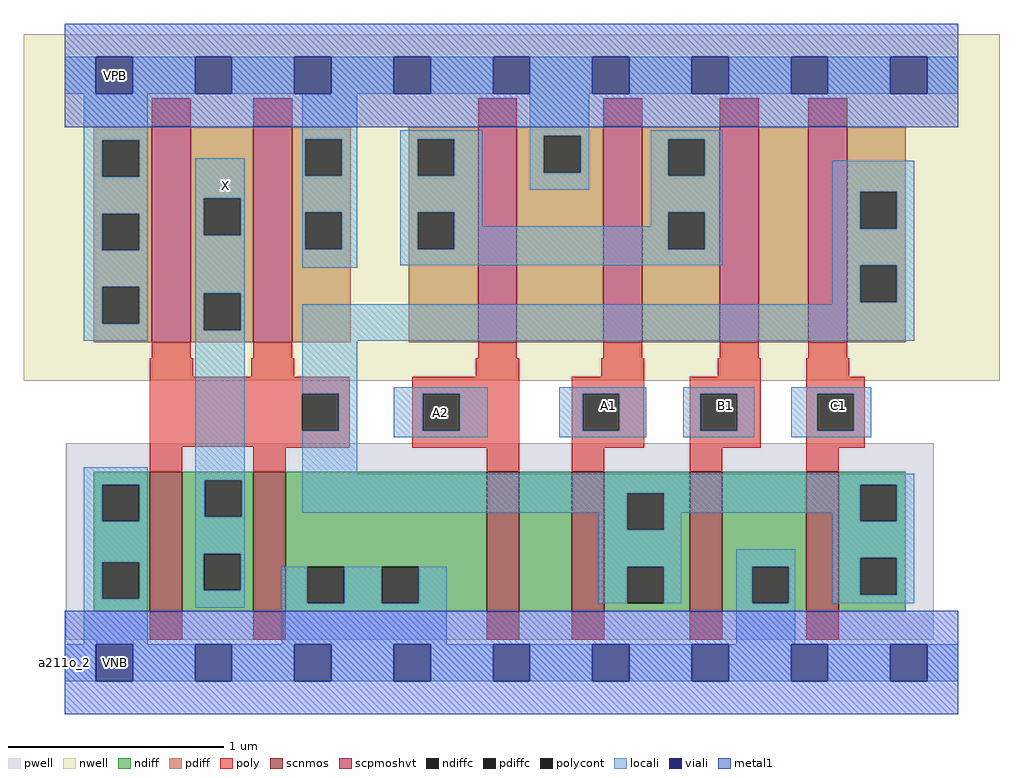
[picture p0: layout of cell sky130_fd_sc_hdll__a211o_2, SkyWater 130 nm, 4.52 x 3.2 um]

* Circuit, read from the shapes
.subckt sky130_fd_sc_hdll__a211o_2 A1 A2 B1 C1 VGND VNB VPB VPWR X
XM1 X n1 VGND VNB sky130_fd_pr__nfet_01v8 w=0.65 l=0.15 m=2
XM2 n2 A2 VGND VNB sky130_fd_pr__nfet_01v8 w=0.65 l=0.15
XM3 n1 A1 n2 VNB sky130_fd_pr__nfet_01v8 w=0.65 l=0.15
XM4 VGND B1 n1 VNB sky130_fd_pr__nfet_01v8 w=0.65 l=0.15
XM5 n1 C1 VGND VNB sky130_fd_pr__nfet_01v8 w=0.65 l=0.15
XM6 X n1 VPWR VPB sky130_fd_pr__pfet_01v8_hvt w=1 l=0.18 m=2
XM7 VPWR A2 n3 VPB sky130_fd_pr__pfet_01v8_hvt w=1 l=0.18
XM8 n3 A1 VPWR VPB sky130_fd_pr__pfet_01v8_hvt w=1 l=0.18
XM9 n4 B1 n3 VPB sky130_fd_pr__pfet_01v8_hvt w=1 l=0.18
XM10 n1 C1 n4 VPB sky130_fd_pr__pfet_01v8_hvt w=1 l=0.18
.ends

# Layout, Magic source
magic
tech sky130A
magscale 1 2
<< nwell >>
rect -38 261 866 582
<< pwell >>
rect 1 21 805 203
rect 30 -17 64 21
<< scnmos >>
rect 79 47 109 177
rect 175 47 205 177
rect 391 47 421 177
rect 470 47 500 177
rect 579 47 609 177
rect 687 47 717 177
<< scpmoshvt >>
rect 81 297 117 497
rect 175 297 211 497
rect 383 297 419 497
rect 499 297 535 497
rect 607 297 643 497
rect 689 297 725 497
<< ndiff >>
rect 27 165 79 177
rect 27 131 35 165
rect 69 131 79 165
rect 27 93 79 131
rect 27 59 35 93
rect 69 59 79 93
rect 27 47 79 59
rect 109 169 175 177
rect 109 135 130 169
rect 164 135 175 169
rect 109 101 175 135
rect 109 67 129 101
rect 163 67 175 101
rect 109 47 175 67
rect 205 89 391 177
rect 205 55 225 89
rect 259 55 294 89
rect 328 55 391 89
rect 205 47 391 55
rect 421 47 470 177
rect 500 157 579 177
rect 500 123 521 157
rect 555 123 579 157
rect 500 89 579 123
rect 500 55 521 89
rect 555 55 579 89
rect 500 47 579 55
rect 609 89 687 177
rect 609 55 637 89
rect 671 55 687 89
rect 609 47 687 55
rect 717 165 779 177
rect 717 131 737 165
rect 771 131 779 165
rect 717 97 779 131
rect 717 63 737 97
rect 771 63 779 97
rect 717 47 779 63
<< pdiff >>
rect 27 484 81 497
rect 27 450 35 484
rect 69 450 81 484
rect 27 416 81 450
rect 27 382 35 416
rect 69 382 81 416
rect 27 348 81 382
rect 27 314 35 348
rect 69 314 81 348
rect 27 297 81 314
rect 117 430 175 497
rect 117 396 129 430
rect 163 396 175 430
rect 117 342 175 396
rect 117 308 129 342
rect 163 308 175 342
rect 117 297 175 308
rect 211 485 265 497
rect 211 451 223 485
rect 257 451 265 485
rect 211 417 265 451
rect 211 383 223 417
rect 257 383 265 417
rect 211 297 265 383
rect 319 485 383 497
rect 319 451 327 485
rect 361 451 383 485
rect 319 417 383 451
rect 319 383 327 417
rect 361 383 383 417
rect 319 297 383 383
rect 419 488 499 497
rect 419 454 444 488
rect 478 454 499 488
rect 419 297 499 454
rect 535 485 607 497
rect 535 451 559 485
rect 593 451 607 485
rect 535 417 607 451
rect 535 383 559 417
rect 593 383 607 417
rect 535 297 607 383
rect 643 297 689 497
rect 725 436 779 497
rect 725 402 737 436
rect 771 402 779 436
rect 725 368 779 402
rect 725 334 737 368
rect 771 334 779 368
rect 725 297 779 334
<< ndiffc >>
rect 35 131 69 165
rect 35 59 69 93
rect 130 135 164 169
rect 129 67 163 101
rect 225 55 259 89
rect 294 55 328 89
rect 521 123 555 157
rect 521 55 555 89
rect 637 55 671 89
rect 737 131 771 165
rect 737 63 771 97
<< pdiffc >>
rect 35 450 69 484
rect 35 382 69 416
rect 35 314 69 348
rect 129 396 163 430
rect 129 308 163 342
rect 223 451 257 485
rect 223 383 257 417
rect 327 451 361 485
rect 327 383 361 417
rect 444 454 478 488
rect 559 451 593 485
rect 559 383 593 417
rect 737 402 771 436
rect 737 334 771 368
<< poly >>
rect 81 497 117 523
rect 175 497 211 523
rect 383 497 419 523
rect 499 497 535 523
rect 607 497 643 523
rect 689 497 725 523
rect 81 282 117 297
rect 175 282 211 297
rect 383 282 419 297
rect 499 282 535 297
rect 607 282 643 297
rect 689 282 725 297
rect 79 265 119 282
rect 173 265 213 282
rect 381 265 421 282
rect 497 265 537 282
rect 605 265 645 282
rect 79 249 264 265
rect 79 215 220 249
rect 254 215 264 249
rect 79 200 264 215
rect 79 177 109 200
rect 175 199 264 200
rect 322 249 421 265
rect 322 215 332 249
rect 366 215 421 249
rect 322 199 421 215
rect 175 177 205 199
rect 391 177 421 199
rect 470 249 537 265
rect 470 215 480 249
rect 514 215 537 249
rect 470 199 537 215
rect 579 249 645 265
rect 579 215 589 249
rect 623 215 645 249
rect 579 199 645 215
rect 687 265 727 282
rect 687 249 741 265
rect 687 215 697 249
rect 731 215 741 249
rect 687 199 741 215
rect 470 177 500 199
rect 579 177 609 199
rect 687 177 717 199
rect 79 21 109 47
rect 175 21 205 47
rect 391 21 421 47
rect 470 21 500 47
rect 579 21 609 47
rect 687 21 717 47
<< polycont >>
rect 220 215 254 249
rect 332 215 366 249
rect 480 215 514 249
rect 589 215 623 249
rect 697 215 731 249
<< locali >>
rect 0 527 29 561
rect 63 527 121 561
rect 155 527 213 561
rect 247 527 305 561
rect 339 527 397 561
rect 431 527 489 561
rect 523 527 581 561
rect 615 527 673 561
rect 707 527 765 561
rect 799 527 828 561
rect 18 484 77 527
rect 18 450 35 484
rect 69 450 77 484
rect 220 485 271 527
rect 18 416 77 450
rect 18 382 35 416
rect 69 382 77 416
rect 18 348 77 382
rect 18 314 35 348
rect 69 314 77 348
rect 18 298 77 314
rect 121 430 167 467
rect 121 396 129 430
rect 163 396 167 430
rect 121 342 167 396
rect 220 451 223 485
rect 257 451 271 485
rect 220 417 271 451
rect 220 383 223 417
rect 257 383 271 417
rect 220 366 271 383
rect 311 485 387 493
rect 311 451 327 485
rect 361 451 387 485
rect 311 417 387 451
rect 431 488 486 527
rect 431 454 444 488
rect 478 454 486 488
rect 431 438 486 454
rect 543 485 609 493
rect 543 451 559 485
rect 593 451 609 485
rect 311 383 327 417
rect 361 404 387 417
rect 543 417 609 451
rect 543 404 559 417
rect 361 383 559 404
rect 593 383 609 417
rect 311 368 609 383
rect 711 436 787 465
rect 711 402 737 436
rect 771 402 787 436
rect 711 368 787 402
rect 121 308 129 342
rect 163 308 167 342
rect 711 334 737 368
rect 771 334 787 368
rect 711 332 787 334
rect 18 165 77 181
rect 18 131 35 165
rect 69 131 77 165
rect 18 93 77 131
rect 18 59 35 93
rect 69 59 77 93
rect 18 17 77 59
rect 121 169 167 308
rect 121 135 130 169
rect 164 135 167 169
rect 220 298 787 332
rect 220 249 271 298
rect 254 215 271 249
rect 220 175 271 215
rect 305 249 392 255
rect 305 215 332 249
rect 366 215 392 249
rect 305 209 392 215
rect 458 249 539 255
rect 458 215 480 249
rect 514 215 539 249
rect 458 209 539 215
rect 573 249 639 255
rect 573 215 589 249
rect 623 215 639 249
rect 573 209 639 215
rect 673 249 747 255
rect 673 215 697 249
rect 731 215 747 249
rect 673 209 747 215
rect 220 165 787 175
rect 220 157 737 165
rect 220 139 521 157
rect 121 101 167 135
rect 121 67 129 101
rect 163 67 167 101
rect 495 123 521 139
rect 555 139 737 157
rect 555 123 571 139
rect 495 89 571 123
rect 711 131 737 139
rect 771 131 787 165
rect 121 51 167 67
rect 201 55 225 89
rect 259 55 294 89
rect 328 55 354 89
rect 495 55 521 89
rect 555 55 571 89
rect 622 89 677 105
rect 622 55 637 89
rect 671 55 677 89
rect 711 97 787 131
rect 711 63 737 97
rect 771 63 787 97
rect 711 55 787 63
rect 201 17 354 55
rect 622 17 677 55
rect 0 -17 29 17
rect 63 -17 121 17
rect 155 -17 213 17
rect 247 -17 305 17
rect 339 -17 397 17
rect 431 -17 489 17
rect 523 -17 581 17
rect 615 -17 673 17
rect 707 -17 765 17
rect 799 -17 828 17
<< viali >>
rect 29 527 63 561
rect 121 527 155 561
rect 213 527 247 561
rect 305 527 339 561
rect 397 527 431 561
rect 489 527 523 561
rect 581 527 615 561
rect 673 527 707 561
rect 765 527 799 561
rect 29 -17 63 17
rect 121 -17 155 17
rect 213 -17 247 17
rect 305 -17 339 17
rect 397 -17 431 17
rect 489 -17 523 17
rect 581 -17 615 17
rect 673 -17 707 17
rect 765 -17 799 17
<< metal1 >>
rect 0 561 828 592
rect 0 527 29 561
rect 63 527 121 561
rect 155 527 213 561
rect 247 527 305 561
rect 339 527 397 561
rect 431 527 489 561
rect 523 527 581 561
rect 615 527 673 561
rect 707 527 765 561
rect 799 527 828 561
rect 0 496 828 527
rect 0 17 828 48
rect 0 -17 29 17
rect 63 -17 121 17
rect 155 -17 213 17
rect 247 -17 305 17
rect 339 -17 397 17
rect 431 -17 489 17
rect 523 -17 581 17
rect 615 -17 673 17
rect 707 -17 765 17
rect 799 -17 828 17
rect 0 -48 828 -17
<< labels >>
flabel locali s 132 425 166 459 0 FreeSans 400 0 0 0 X
port 9 nsew signal output
flabel locali s 305 209 392 255 0 FreeSans 400 0 0 0 A2
port 2 nsew signal input
flabel locali s 487 221 521 255 0 FreeSans 400 0 0 0 A1
port 1 nsew signal input
flabel locali s 595 221 629 255 0 FreeSans 400 0 0 0 B1
port 3 nsew signal input
flabel locali s 700 221 734 255 0 FreeSans 400 0 0 0 C1
port 4 nsew signal input
flabel pwell s 30 -17 64 17 0 FreeSans 200 0 0 0 VNB
port 6 nsew ground bidirectional
flabel nwell s 30 527 64 561 0 FreeSans 200 0 0 0 VPB
port 7 nsew power bidirectional
flabel metal1 s 30 -17 64 17 0 FreeSans 200 0 0 0 VGND
port 5 nsew ground bidirectional
flabel metal1 s 30 527 64 561 0 FreeSans 200 0 0 0 VPWR
port 8 nsew power bidirectional
rlabel comment s 0 0 0 0 4 a211o_2
<< properties >>
string LEFsite unithd
string LEFclass CORE
string FIXED_BBOX 0 0 828 544
string GDS_FILE $PDKPATH/libs.ref/sky130_fd_sc_hdll/gds/sky130_fd_sc_hdll.gds
string LEFsymmetry X Y R90
string GDS_END 792052
string GDS_START 785360
string LEFproperties maskLayoutSubType "abstract" prCellType "standard" originalViewName "layout"
<< end >>
